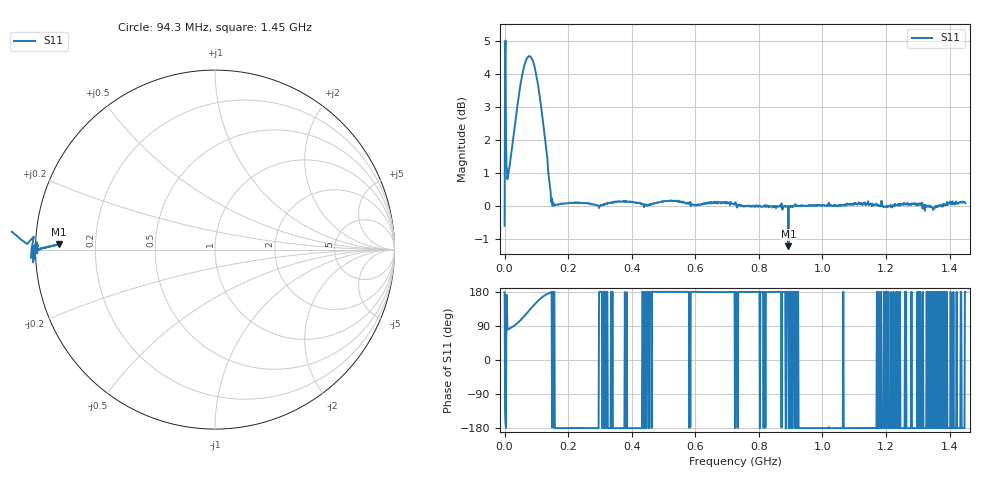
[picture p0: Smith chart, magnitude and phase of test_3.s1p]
! Created with skrf 1.11.0 (http://scikit-rf.org).
# Hz S RI R 50.0
!freq ReS11 ImS11
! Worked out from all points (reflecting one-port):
!   1001 points, 50 kHz to 1.45 GHz, reference 50 ohm
!   lowest |S11| = -1.2 dB at 893.2 MHz (marker M1), VSWR 14.20, Z = 3.52 + j0.855 ohm
!   phase of S11 starts at 179 deg and turns +1 deg over the sweep
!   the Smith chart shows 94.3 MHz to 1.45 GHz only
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50000  -0.9322 0.0211
8749700  0.1878 1.081
1.019965e7  0.1769 1.092
1.16496e7  0.1677 1.103
1.599945e7  0.157 1.138
2.759905e7  0.022 1.27
3.629875e7  -0.1067 1.364
4.64484e7  -0.3088 1.454
5.51481e7  -0.5259 1.486
6.38478e7  -0.7572 1.454
7.399745e7  -1.019 1.336
8.7047e7  -1.275 1.07
9.86466e7  -1.385 0.7761
1.073463e8  -1.392 0.5627
1.17496e8  -1.335 0.3511
1.261956e8  -1.259 0.2131
1.348954e8  -1.171 0.1092
1.43595e8  -1.06 0.0417
1.522948e8  -1.01 -0.0339
1.812938e8  -1.007 -0.0063
3.625375e8  -1.013 -0.00392
5.437812e8  -1.017 0.00416
7.25025e8  -1.008 -0.00712
8.932192e8  -0.8679 0.0298
9.062688e8  -0.9946 -0.00198
1.087512e9  -1.004 -0.0062
1.268756e9  -1.003 -0.00657
1.45e9  -1.009 0.000211
